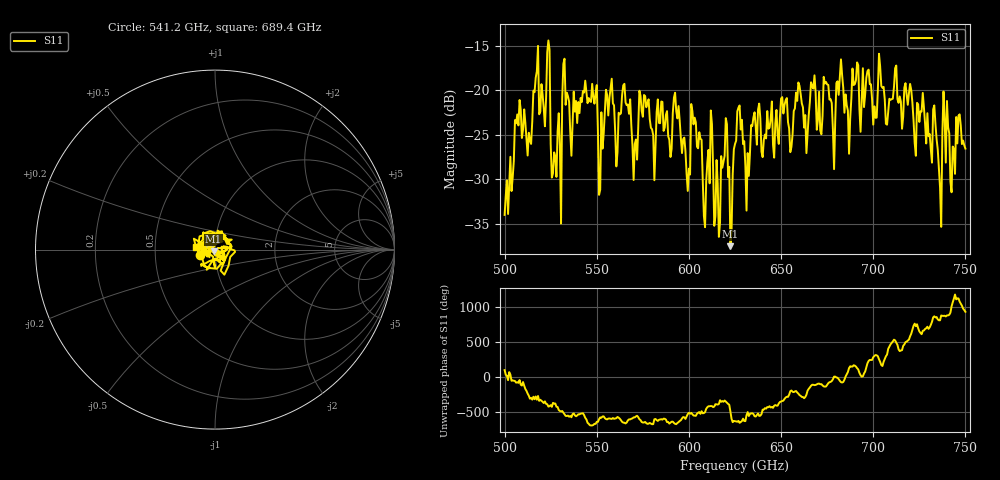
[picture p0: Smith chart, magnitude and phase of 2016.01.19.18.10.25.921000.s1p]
!Created with skrf (http://scikit-rf.org).
# GHz S RI R 50.0
!freq ReS11 ImS11
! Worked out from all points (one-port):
!   401 points, 500 GHz to 750 GHz, reference 50 ohm
!   lowest |S11| = -37.5 dB at 622.5 GHz (marker M1), VSWR 1.03, Z = 49.2 - j1.02 ohm
!   |S11| at or under -10 dB: start of sweep to end of sweep
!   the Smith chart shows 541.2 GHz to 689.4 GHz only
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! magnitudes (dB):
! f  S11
! 500 GHz  -34.0
! 506.9 GHz  -22.7
! 513.8 GHz  -25.7
! 516.9 GHz  -18.6
! 523.8 GHz  -14.4
! 526.9 GHz  -27.0
! 531.2 GHz  -20.9
! 552.5 GHz  -22.5
! 562.5 GHz  -22.7
! 570.6 GHz  -26.0
! 574.4 GHz  -22.3
! 580.6 GHz  -25.0
! 593.8 GHz  -23.2
! 599.4 GHz  -31.3
! 602.5 GHz  -23.8
! 608.8 GHz  -35.4
! 611.9 GHz  -22.3
! 615 GHz  -27.8
! 620.6 GHz  -23.8
! 622.5 GHz  -37.5
! 625 GHz  -26.0
! 656.2 GHz  -24.9
! 687.5 GHz  -23.2
! 718.8 GHz  -21.6
! 733.8 GHz  -23.8
! 735.6 GHz  -28.8
! 738.8 GHz  -23.2
! 750 GHz  -26.6
